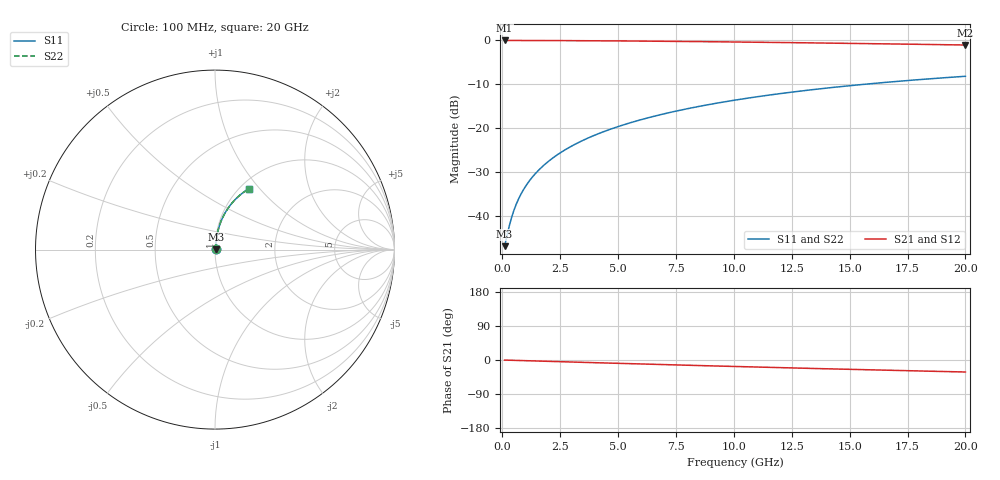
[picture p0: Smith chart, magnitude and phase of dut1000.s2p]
! Touchstone file exported from HFSS 2024.1.0
!  File:  C:/UserFiles/LocalFiles/RDL_TSV_Batchsim/temp_RDL_top_1000_1780042265.aedt
!  Generated:  04:14:55 PM May 29, 2026
!  Design:  RDL_top
!  Project:  temp_RDL_top_1000_1780042265
!  Setup:  Setup1
!  Solution:  Sweep
! Variables:
!  dtsv = 10.80580581um
!  hbump = 3um
!  htsv = 95.54um
!  ldown = 100um
!  lrdl = 346.15um
!  p = 40
!  p1 = 56.97um
!  rhole = 1um
!  t = 450um
!  tdown = 3.915915916um
!  trdl = 2.32um
!  wdown = 15.38538539um
!  wrdl = 14.21um
# GHz S MA R 50.000000
! Terminal data exported
! Port[1] = Box2_T1
! Port[2] = Box2_T2
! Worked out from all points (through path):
!   200 points, 100 MHz to 20 GHz, reference 50 ohm
!   highest |S21| = -0.03 dB at 100 MHz (marker M1); lowest = -1.1 dB at 20 GHz (marker M2)
!   group delay of S21, straight-line fit = 4.4 ps
!   lowest |S11| = -47.0 dB at 100 MHz (marker M3), VSWR 1.01, Z = 50.4 + j0.217 ohm
!   |S11| at or under -10 dB: start of sweep to 15.71 GHz
!   |S22| runs from -47.0 to -8.2 dB; largest |S21 - S12| = 2.4e-15
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0.1  0.004485 28.7  0.9961 -0.2  0.9961 -0.2  0.004485 28.7
! Gamma 0 0 0 0
! Port Impedance 50 0 50 0
0.3  0.007596 57.7  0.9959 -0.6  0.9959 -0.6  0.007596 57.7
0.4  0.009491 64.1  0.9958 -0.7  0.9958 -0.7  0.009491 64.1
0.5  0.01145 68.2  0.9957 -0.9  0.9957 -0.9  0.01145 68.2
0.6  0.01345 71.0  0.9956 -1.1  0.9956 -1.1  0.01345 71.0
0.7  0.01545 73.1  0.9955 -1.3  0.9955 -1.3  0.01545 73.1
0.9  0.01948 75.9  0.9952 -1.6  0.9952 -1.6  0.01948 75.9
1.2  0.02553 78.4  0.9948 -2.2  0.9948 -2.2  0.02553 78.4
1.4  0.02958 79.4  0.9945 -2.5  0.9945 -2.5  0.02958 79.4
1.7  0.03566 80.5  0.994 -3.1  0.994 -3.1  0.03566 80.5
2.2  0.04586 81.4  0.993 -3.9  0.993 -3.9  0.04586 81.4
2.8  0.05816 81.9  0.9916 -5.0  0.9916 -5.0  0.05816 81.9
3.5  0.07258 81.9  0.9897 -6.2  0.9897 -6.2  0.07259 81.9
4.2  0.08708 81.6  0.9873 -7.4  0.9873 -7.4  0.08708 81.6
5  0.1037 81.0  0.9842 -8.8  0.9842 -8.8  0.1037 81.0
5.9  0.1224 80.2  0.9803 -10.4  0.9803 -10.4  0.1224 80.2
6.8  0.1412 79.2  0.9759 -11.9  0.9759 -11.9  0.1412 79.2
8.4  0.1743 77.2  0.9672 -14.5  0.9672 -14.5  0.1743 77.2
10.1  0.2089 74.8  0.9569 -17.2  0.9569 -17.2  0.2089 74.8
13.4  0.2736 70.1  0.9345 -22.3  0.9345 -22.3  0.2737 70.1
16.7  0.3338 65.4  0.9099 -27.1  0.9099 -27.1  0.3338 65.4
20  0.3888 60.9  0.8839 -31.7  0.8839 -31.7  0.3888 60.9
